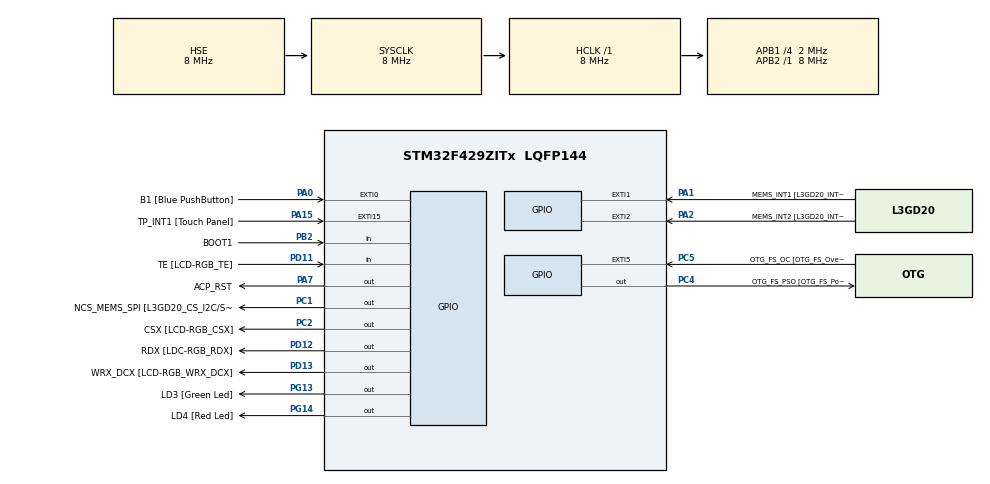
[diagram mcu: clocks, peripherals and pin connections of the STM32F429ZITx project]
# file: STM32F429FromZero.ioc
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Mcu.Family=STM32F4
Mcu.Name=STM32F429ZITx
Mcu.Package=LQFP144
NVIC.PriorityGroup=NVIC_PRIORITYGROUP_0
PA0/WKUP.GPIO_Label=B1 [Blue PushButton]
PA0/WKUP.GPIO_ModeDefaultEXTI=GPIO_MODE_EVT_RISING
PA0/WKUP.GPIO_PuPd=GPIO_NOPULL
PA0/WKUP.Signal=GPXTI0
PA1.GPIO_Label=MEMS_INT1 [L3GD20_INT1]
PA1.GPIO_ModeDefaultEXTI=GPIO_MODE_EVT_RISING
PA1.GPIO_PuPd=GPIO_NOPULL
PA1.Signal=GPXTI1
PA10.GPIO_Label=STLINK_TX [STM32F103CBT6_PA2]
PA10.Signal=USART1_RX
PA11.GPIO_Label=R4
PA11.GPIO_Mode=GPIO_MODE_AF_PP
PA11.GPIO_PuPd=GPIO_NOPULL
PA11.GPIO_Speed=GPIO_SPEED_FREQ_LOW
PA11.Signal=LTDC_R4
PA12.GPIO_Label=R5
PA12.GPIO_Mode=GPIO_MODE_AF_PP
PA12.GPIO_PuPd=GPIO_NOPULL
PA12.GPIO_Speed=GPIO_SPEED_FREQ_LOW
PA12.Signal=LTDC_R5
PA13.GPIO_Label=SWDIO
PA13.Signal=SYS_JTMS-SWDIO
PA14.GPIO_Label=SWCLK
PA14.Signal=SYS_JTCK-SWCLK
PA15.GPIO_Label=TP_INT1 [Touch Panel]
PA15.GPIO_ModeDefaultEXTI=GPIO_MODE_EVT_RISING
PA15.GPIO_PuPd=GPIO_NOPULL
PA15.Signal=GPXTI15
PA2.GPIO_Label=MEMS_INT2 [L3GD20_INT2]
PA2.GPIO_ModeDefaultEXTI=GPIO_MODE_EVT_RISING
PA2.GPIO_PuPd=GPIO_NOPULL
PA2.Signal=GPXTI2
PA3.GPIO_Label=B5
PA3.GPIO_Mode=GPIO_MODE_AF_PP
PA3.GPIO_PuPd=GPIO_NOPULL
PA3.GPIO_Speed=GPIO_SPEED_FREQ_LOW
PA3.Signal=LTDC_B5
PA4.GPIO_Label=VSYNC
PA4.GPIO_Mode=GPIO_MODE_AF_PP
PA4.GPIO_PuPd=GPIO_NOPULL
PA4.GPIO_Speed=GPIO_SPEED_FREQ_LOW
PA4.Signal=LTDC_VSYNC
PA6.GPIO_Label=G2
PA6.GPIO_Mode=GPIO_MODE_AF_PP
PA6.GPIO_PuPd=GPIO_NOPULL
PA6.GPIO_Speed=GPIO_SPEED_FREQ_LOW
PA6.Signal=LTDC_G2
PA7.GPIO_Label=ACP_RST
PA7.GPIO_Mode=GPIO_MODE_OUTPUT_PP
PA7.GPIO_PuPd=GPIO_NOPULL
PA7.GPIO_Speed=GPIO_SPEED_FREQ_LOW
PA7.Signal=GPIO_Output
PA8.GPIO_Label=I2C3_SCL [ACP/RF_SCL]
PA8.GPIO_Mode=GPIO_MODE_AF_OD
PA8.GPIO_PuPd=GPIO_NOPULL
PA8.GPIO_Speed=GPIO_SPEED_FREQ_LOW
PA8.Signal=I2C3_SCL
PA9.GPIO_Label=STLINK_RX [STM32F103CBT6_PA3]
PA9.Signal=USART1_TX
PB0.GPIO_Label=R3
PB0.GPIO_Mode=GPIO_MODE_AF_PP
PB0.GPIO_PuPd=GPIO_NOPULL
PB0.GPIO_Speed=GPIO_SPEED_FREQ_LOW
PB0.Signal=LTDC_R3
PB1.GPIO_Label=R6
PB1.GPIO_Mode=GPIO_MODE_AF_PP
PB1.GPIO_PuPd=GPIO_NOPULL
PB1.GPIO_Speed=GPIO_SPEED_FREQ_LOW
PB1.Signal=LTDC_R6
PB10.GPIO_Label=G4
PB10.GPIO_Mode=GPIO_MODE_AF_PP
PB10.GPIO_PuPd=GPIO_NOPULL
PB10.GPIO_Speed=GPIO_SPEED_FREQ_LOW
PB10.Signal=LTDC_G4
PB11.GPIO_Label=G5
PB11.GPIO_Mode=GPIO_MODE_AF_PP
PB11.GPIO_PuPd=GPIO_NOPULL
PB11.GPIO_Speed=GPIO_SPEED_FREQ_LOW
PB11.Signal=LTDC_G5
PB12.GPIO_Label=OTG_HS_ID
PB12.GPIO_Mode=GPIO_MODE_AF_PP
PB12.GPIO_PuPd=GPIO_NOPULL
PB12.GPIO_Speed=GPIO_SPEED_FREQ_LOW
PB12.Signal=USB_OTG_HS_ID
PB13.GPIO_Label=VBUS_HS
PB13.GPIO_Mode=GPIO_MODE_INPUT
PB13.GPIO_PuPd=GPIO_NOPULL
PB13.Signal=USB_OTG_HS_VBUS
PB14.GPIO_Label=OTG_HS_DM
PB14.GPIO_Mode=GPIO_MODE_AF_PP
PB14.GPIO_PuPd=GPIO_NOPULL
PB14.GPIO_Speed=GPIO_SPEED_FREQ_LOW
PB14.Signal=USB_OTG_HS_DM
PB15.GPIO_Label=OTG_HS_DP
PB15.GPIO_Mode=GPIO_MODE_AF_PP
PB15.GPIO_PuPd=GPIO_NOPULL
PB15.GPIO_Speed=GPIO_SPEED_FREQ_LOW
PB15.Signal=USB_OTG_HS_DP
PB2/BOOT1.GPIO_Label=BOOT1
PB2/BOOT1.GPIO_Mode=GPIO_MODE_INPUT
PB2/BOOT1.GPIO_PuPd=GPIO_NOPULL
PB2/BOOT1.Signal=GPIO_Input
PB5.GPIO_Label=SDCKE1
PB5.GPIO_Mode=GPIO_MODE_AF_PP
PB5.GPIO_PuPd=GPIO_NOPULL
PB5.GPIO_Speed=GPIO_SPEED_FREQ_VERY_HIGH
PB5.Signal=FMC_SDCKE1
PB6.GPIO_Label=SDNE1 [SDRAM_CS]
PB6.GPIO_Mode=GPIO_MODE_AF_PP
PB6.GPIO_PuPd=GPIO_NOPULL
PB6.GPIO_Speed=GPIO_SPEED_FREQ_VERY_HIGH
PB6.Signal=FMC_SDNE1
PB8.GPIO_Label=B6
PB8.GPIO_Mode=GPIO_MODE_AF_PP
PB8.GPIO_PuPd=GPIO_NOPULL
PB8.GPIO_Speed=GPIO_SPEED_FREQ_LOW
PB8.Signal=LTDC_B6
PB9.GPIO_Label=B7
PB9.GPIO_Mode=GPIO_MODE_AF_PP
PB9.GPIO_PuPd=GPIO_NOPULL
PB9.GPIO_Speed=GPIO_SPEED_FREQ_LOW
PB9.Signal=LTDC_B7
PC0.GPIO_Label=SDNWE
PC0.GPIO_Mode=GPIO_MODE_AF_PP
PC0.GPIO_PuPd=GPIO_NOPULL
PC0.GPIO_Speed=GPIO_SPEED_FREQ_VERY_HIGH
PC0.Signal=FMC_SDNWE
PC1.GPIO_Label=NCS_MEMS_SPI [L3GD20_CS_I2C/SPI]
PC1.GPIO_Mode=GPIO_MODE_OUTPUT_PP
PC1.GPIO_PuPd=GPIO_NOPULL
PC1.GPIO_Speed=GPIO_SPEED_FREQ_LOW
PC1.Signal=GPIO_Output
PC10.GPIO_Label=R2
PC10.GPIO_Mode=GPIO_MODE_AF_PP
PC10.GPIO_PuPd=GPIO_NOPULL
PC10.GPIO_Speed=GPIO_SPEED_FREQ_LOW
PC10.Signal=LTDC_R2
PC14/OSC32_IN.GPIO_Label=PC14-OSC32_IN
PC14/OSC32_IN.Signal=RCC_OSC32_IN
PC15/OSC32_OUT.GPIO_Label=PC15-OSC32_OUT
PC15/OSC32_OUT.Signal=RCC_OSC32_OUT
PC2.GPIO_Label=CSX [LCD-RGB_CSX]
PC2.GPIO_Mode=GPIO_MODE_OUTPUT_PP
PC2.GPIO_PuPd=GPIO_NOPULL
PC2.GPIO_Speed=GPIO_SPEED_FREQ_LOW
PC2.Signal=GPIO_Output
PC4.GPIO_Label=OTG_FS_PSO [OTG_FS_PowerSwitchOn]
PC4.GPIO_Mode=GPIO_MODE_OUTPUT_PP
PC4.GPIO_PuPd=GPIO_NOPULL
PC4.GPIO_Speed=GPIO_SPEED_FREQ_LOW
PC4.Signal=GPIO_Output
PC5.GPIO_Label=OTG_FS_OC [OTG_FS_OverCurrent]
PC5.GPIO_ModeDefaultEXTI=GPIO_MODE_EVT_RISING
PC5.Signal=GPXTI5
PC6.GPIO_Label=HSYNC
PC6.GPIO_Mode=GPIO_MODE_AF_PP
PC6.GPIO_PuPd=GPIO_NOPULL
PC6.GPIO_Speed=GPIO_SPEED_FREQ_LOW
PC6.Signal=LTDC_HSYNC
PC7.GPIO_Label=G6
PC7.GPIO_Mode=GPIO_MODE_AF_PP
PC7.GPIO_PuPd=GPIO_NOPULL
PC7.GPIO_Speed=GPIO_SPEED_FREQ_LOW
PC7.Signal=LTDC_G6
PC9.GPIO_Label=I2C3_SDA [ACP/RF_SDA]
PC9.GPIO_Mode=GPIO_MODE_AF_OD
PC9.GPIO_PuPd=GPIO_NOPULL
PC9.GPIO_Speed=GPIO_SPEED_FREQ_LOW
PC9.Signal=I2C3_SDA
PD0.GPIO_Label=D2
PD0.GPIO_Mode=GPIO_MODE_AF_PP
PD0.GPIO_PuPd=GPIO_NOPULL
PD0.GPIO_Speed=GPIO_SPEED_FREQ_VERY_HIGH
PD0.Signal=FMC_D2_DA2
PD1.GPIO_Label=D3
PD1.GPIO_Mode=GPIO_MODE_AF_PP
PD1.GPIO_PuPd=GPIO_NOPULL
PD1.GPIO_Speed=GPIO_SPEED_FREQ_VERY_HIGH
PD1.Signal=FMC_D3_DA3
PD10.GPIO_Label=D15
PD10.GPIO_Mode=GPIO_MODE_AF_PP
PD10.GPIO_PuPd=GPIO_NOPULL
PD10.GPIO_Speed=GPIO_SPEED_FREQ_VERY_HIGH
PD10.Signal=FMC_D15_DA15
PD11.GPIO_Label=TE [LCD-RGB_TE]
PD11.GPIO_Mode=GPIO_MODE_INPUT
PD11.GPIO_PuPd=GPIO_NOPULL
PD11.Signal=GPIO_Input
PD12.GPIO_Label=RDX [LDC-RGB_RDX]
PD12.GPIO_Mode=GPIO_MODE_OUTPUT_PP
PD12.GPIO_PuPd=GPIO_NOPULL
PD12.GPIO_Speed=GPIO_SPEED_FREQ_LOW
PD12.Signal=GPIO_Output
PD13.GPIO_Label=WRX_DCX [LCD-RGB_WRX_DCX]
PD13.GPIO_Mode=GPIO_MODE_OUTPUT_PP
PD13.GPIO_PuPd=GPIO_NOPULL
PD13.GPIO_Speed=GPIO_SPEED_FREQ_LOW
PD13.Signal=GPIO_Output
PD14.GPIO_Label=D0
PD14.GPIO_Mode=GPIO_MODE_AF_PP
PD14.GPIO_PuPd=GPIO_NOPULL
PD14.GPIO_Speed=GPIO_SPEED_FREQ_VERY_HIGH
PD14.Signal=FMC_D0_DA0
PD15.GPIO_Label=D1
PD15.GPIO_Mode=GPIO_MODE_AF_PP
PD15.GPIO_PuPd=GPIO_NOPULL
PD15.GPIO_Speed=GPIO_SPEED_FREQ_VERY_HIGH
PD15.Signal=FMC_D1_DA1
PD3.GPIO_Label=G7
PD3.GPIO_Mode=GPIO_MODE_AF_PP
PD3.GPIO_PuPd=GPIO_NOPULL
PD3.GPIO_Speed=GPIO_SPEED_FREQ_LOW
PD3.Signal=LTDC_G7
PD6.GPIO_Label=B2
PD6.GPIO_Mode=GPIO_MODE_AF_PP
PD6.GPIO_PuPd=GPIO_NOPULL
PD6.GPIO_Speed=GPIO_SPEED_FREQ_LOW
PD6.Signal=LTDC_B2
PD8.GPIO_Label=D13
PD8.GPIO_Mode=GPIO_MODE_AF_PP
PD8.GPIO_PuPd=GPIO_NOPULL
PD8.GPIO_Speed=GPIO_SPEED_FREQ_VERY_HIGH
PD8.Signal=FMC_D13_DA13
PD9.GPIO_Label=D14
PD9.GPIO_Mode=GPIO_MODE_AF_PP
PD9.GPIO_PuPd=GPIO_NOPULL
PD9.GPIO_Speed=GPIO_SPEED_FREQ_VERY_HIGH
PD9.Signal=FMC_D14_DA14
PE0.GPIO_Label=NBL0 [SDRAM_LDQM]
PE0.GPIO_Mode=GPIO_MODE_AF_PP
PE0.GPIO_PuPd=GPIO_NOPULL
PE0.GPIO_Speed=GPIO_SPEED_FREQ_VERY_HIGH
PE0.Signal=FMC_NBL0
PE1.GPIO_Label=NBL1 [SDRAM_UDQM]
PE1.GPIO_Mode=GPIO_MODE_AF_PP
PE1.GPIO_PuPd=GPIO_NOPULL
PE1.GPIO_Speed=GPIO_SPEED_FREQ_VERY_HIGH
PE1.Signal=FMC_NBL1
PE10.GPIO_Label=D7
PE10.GPIO_Mode=GPIO_MODE_AF_PP
PE10.GPIO_PuPd=GPIO_NOPULL
PE10.GPIO_Speed=GPIO_SPEED_FREQ_VERY_HIGH
PE10.Signal=FMC_D7_DA7
PE11.GPIO_Label=D8
PE11.GPIO_Mode=GPIO_MODE_AF_PP
PE11.GPIO_PuPd=GPIO_NOPULL
PE11.GPIO_Speed=GPIO_SPEED_FREQ_VERY_HIGH
PE11.Signal=FMC_D8_DA8
PE12.GPIO_Label=D9
PE12.GPIO_Mode=GPIO_MODE_AF_PP
PE12.GPIO_PuPd=GPIO_NOPULL
PE12.GPIO_Speed=GPIO_SPEED_FREQ_VERY_HIGH
PE12.Signal=FMC_D9_DA9
PE13.GPIO_Label=D10
PE13.GPIO_Mode=GPIO_MODE_AF_PP
PE13.GPIO_PuPd=GPIO_NOPULL
PE13.GPIO_Speed=GPIO_SPEED_FREQ_VERY_HIGH
PE13.Signal=FMC_D10_DA10
PE14.GPIO_Label=D11
PE14.GPIO_Mode=GPIO_MODE_AF_PP
PE14.GPIO_PuPd=GPIO_NOPULL
PE14.GPIO_Speed=GPIO_SPEED_FREQ_VERY_HIGH
PE14.Signal=FMC_D11_DA11
PE15.GPIO_Label=D12
PE15.GPIO_Mode=GPIO_MODE_AF_PP
PE15.GPIO_PuPd=GPIO_NOPULL
PE15.GPIO_Speed=GPIO_SPEED_FREQ_VERY_HIGH
PE15.Signal=FMC_D12_DA12
PE7.GPIO_Label=D4
PE7.GPIO_Mode=GPIO_MODE_AF_PP
PE7.GPIO_PuPd=GPIO_NOPULL
PE7.GPIO_Speed=GPIO_SPEED_FREQ_VERY_HIGH
PE7.Signal=FMC_D4_DA4
PE8.GPIO_Label=D5
PE8.GPIO_Mode=GPIO_MODE_AF_PP
PE8.GPIO_PuPd=GPIO_NOPULL
PE8.GPIO_Speed=GPIO_SPEED_FREQ_VERY_HIGH
PE8.Signal=FMC_D5_DA5
PE9.GPIO_Label=D6
PE9.GPIO_Mode=GPIO_MODE_AF_PP
PE9.GPIO_PuPd=GPIO_NOPULL
PE9.GPIO_Speed=GPIO_SPEED_FREQ_VERY_HIGH
PE9.Signal=FMC_D6_DA6
PF0.GPIO_Label=A0
PF0.GPIO_Mode=GPIO_MODE_AF_PP
PF0.GPIO_PuPd=GPIO_NOPULL
PF0.GPIO_Speed=GPIO_SPEED_FREQ_VERY_HIGH
PF0.Signal=FMC_A0
PF1.GPIO_Label=A1
PF1.GPIO_Mode=GPIO_MODE_AF_PP
PF1.GPIO_PuPd=GPIO_NOPULL
PF1.GPIO_Speed=GPIO_SPEED_FREQ_VERY_HIGH
PF1.Signal=FMC_A1
PF10.GPIO_Label=ENABLE [LCD-RGB_ENABLE]
PF10.GPIO_Mode=GPIO_MODE_AF_PP
PF10.GPIO_PuPd=GPIO_NOPULL
PF10.GPIO_Speed=GPIO_SPEED_FREQ_LOW
PF10.Signal=LTDC_DE
PF11.GPIO_Label=SDNRAS
PF11.GPIO_Mode=GPIO_MODE_AF_PP
PF11.GPIO_PuPd=GPIO_NOPULL
PF11.GPIO_Speed=GPIO_SPEED_FREQ_VERY_HIGH
PF11.Signal=FMC_SDNRAS
PF12.GPIO_Label=A6
PF12.GPIO_Mode=GPIO_MODE_AF_PP
PF12.GPIO_PuPd=GPIO_NOPULL
PF12.GPIO_Speed=GPIO_SPEED_FREQ_VERY_HIGH
PF12.Signal=FMC_A6
PF13.GPIO_Label=A7
PF13.GPIO_Mode=GPIO_MODE_AF_PP
PF13.GPIO_PuPd=GPIO_NOPULL
PF13.GPIO_Speed=GPIO_SPEED_FREQ_VERY_HIGH
PF13.Signal=FMC_A7
PF14.GPIO_Label=A8
PF14.GPIO_Mode=GPIO_MODE_AF_PP
PF14.GPIO_PuPd=GPIO_NOPULL
PF14.GPIO_Speed=GPIO_SPEED_FREQ_VERY_HIGH
PF14.Signal=FMC_A8
PF15.GPIO_Label=A9
PF15.GPIO_Mode=GPIO_MODE_AF_PP
PF15.GPIO_PuPd=GPIO_NOPULL
PF15.GPIO_Speed=GPIO_SPEED_FREQ_VERY_HIGH
PF15.Signal=FMC_A9
PF2.GPIO_Label=A2
PF2.GPIO_Mode=GPIO_MODE_AF_PP
PF2.GPIO_PuPd=GPIO_NOPULL
PF2.GPIO_Speed=GPIO_SPEED_FREQ_VERY_HIGH
PF2.Signal=FMC_A2
PF3.GPIO_Label=A3
PF3.GPIO_Mode=GPIO_MODE_AF_PP
PF3.GPIO_PuPd=GPIO_NOPULL
PF3.GPIO_Speed=GPIO_SPEED_FREQ_VERY_HIGH
PF3.Signal=FMC_A3
PF4.GPIO_Label=A4
PF4.GPIO_Mode=GPIO_MODE_AF_PP
PF4.GPIO_PuPd=GPIO_NOPULL
PF4.GPIO_Speed=GPIO_SPEED_FREQ_VERY_HIGH
PF4.Signal=FMC_A4
PF5.GPIO_Label=A5
PF5.GPIO_Mode=GPIO_MODE_AF_PP
PF5.GPIO_PuPd=GPIO_NOPULL
PF5.GPIO_Speed=GPIO_SPEED_FREQ_VERY_HIGH
PF5.Signal=FMC_A5
PF7.GPIO_Label=SPI5_SCK [L3GD20_SCL/SPC]
PF7.GPIO_Mode=GPIO_MODE_AF_PP
PF7.GPIO_PuPd=GPIO_NOPULL
PF7.GPIO_Speed=GPIO_SPEED_FREQ_LOW
PF7.Signal=SPI5_SCK
PF8.GPIO_Label=SPI5_MISO [L3GD20_SDO]
PF8.GPIO_Mode=GPIO_MODE_AF_PP
PF8.GPIO_PuPd=GPIO_NOPULL
PF8.GPIO_Speed=GPIO_SPEED_FREQ_LOW
PF8.Signal=SPI5_MISO
PF9.GPIO_Label=SPI5_MOSI [L3GD20_SDA/SDI/SDO]
PF9.GPIO_Mode=GPIO_MODE_AF_PP
PF9.GPIO_PuPd=GPIO_NOPULL
PF9.GPIO_Speed=GPIO_SPEED_FREQ_LOW
PF9.Signal=SPI5_MOSI
PG0.GPIO_Label=A10
PG0.GPIO_Mode=GPIO_MODE_AF_PP
PG0.GPIO_PuPd=GPIO_NOPULL
PG0.GPIO_Speed=GPIO_SPEED_FREQ_VERY_HIGH
PG0.Signal=FMC_A10
PG1.GPIO_Label=A11
PG1.GPIO_Mode=GPIO_MODE_AF_PP
PG1.GPIO_PuPd=GPIO_NOPULL
PG1.GPIO_Speed=GPIO_SPEED_FREQ_VERY_HIGH
PG1.Signal=FMC_A11
PG10.GPIO_Label=G3
PG10.GPIO_Mode=GPIO_MODE_AF_PP
PG10.GPIO_PuPd=GPIO_NOPULL
PG10.GPIO_Speed=GPIO_SPEED_FREQ_LOW
PG10.Signal=LTDC_G3
PG11.GPIO_Label=B3
PG11.GPIO_Mode=GPIO_MODE_AF_PP
PG11.GPIO_PuPd=GPIO_NOPULL
PG11.GPIO_Speed=GPIO_SPEED_FREQ_LOW
PG11.Signal=LTDC_B3
PG12.GPIO_Label=B4
PG12.GPIO_Mode=GPIO_MODE_AF_PP
PG12.GPIO_PuPd=GPIO_NOPULL
PG12.GPIO_Speed=GPIO_SPEED_FREQ_LOW
PG12.Signal=LTDC_B4
PG13.GPIO_Label=LD3 [Green Led]
PG13.GPIO_Mode=GPIO_MODE_OUTPUT_PP
PG13.GPIO_PuPd=GPIO_NOPULL
PG13.GPIO_Speed=GPIO_SPEED_FREQ_LOW
PG13.Signal=GPIO_Output
PG14.GPIO_Label=LD4 [Red Led]
PG14.GPIO_Mode=GPIO_MODE_OUTPUT_PP
PG14.GPIO_PuPd=GPIO_NOPULL
PG14.GPIO_Speed=GPIO_SPEED_FREQ_LOW
PG14.Signal=GPIO_Output
PG15.GPIO_Label=SDNCAS
PG15.GPIO_Mode=GPIO_MODE_AF_PP
PG15.GPIO_PuPd=GPIO_NOPULL
PG15.GPIO_Speed=GPIO_SPEED_FREQ_VERY_HIGH
PG15.Signal=FMC_SDNCAS
PG4.GPIO_Label=BA0
PG4.GPIO_Mode=GPIO_MODE_AF_PP
PG4.GPIO_PuPd=GPIO_NOPULL
PG4.GPIO_Speed=GPIO_SPEED_FREQ_VERY_HIGH
PG4.Signal=FMC_A14_BA0
PG5.GPIO_Label=BA1
PG5.GPIO_Mode=GPIO_MODE_AF_PP
PG5.GPIO_PuPd=GPIO_NOPULL
PG5.GPIO_Speed=GPIO_SPEED_FREQ_VERY_HIGH
PG5.Signal=FMC_A15_BA1
PG6.GPIO_Label=R7
PG6.GPIO_Mode=GPIO_MODE_AF_PP
PG6.GPIO_PuPd=GPIO_NOPULL
PG6.GPIO_Speed=GPIO_SPEED_FREQ_LOW
PG6.Signal=LTDC_R7
PG7.GPIO_Label=DOTCLK [LCT-RGB_DOTCLK]
PG7.GPIO_Mode=GPIO_MODE_AF_PP
PG7.GPIO_PuPd=GPIO_NOPULL
PG7.GPIO_Speed=GPIO_SPEED_FREQ_LOW
PG7.Signal=LTDC_CLK
PG8.GPIO_Label=SDCLK
PG8.GPIO_Mode=GPIO_MODE_AF_PP
PG8.GPIO_PuPd=GPIO_NOPULL
PG8.GPIO_Speed=GPIO_SPEED_FREQ_VERY_HIGH
PG8.Signal=FMC_SDCLK
PH0/OSC_IN.GPIO_Label=PH0-OSC_IN
PH0/OSC_IN.Mode=HSE-External-Oscillator
PH0/OSC_IN.Signal=RCC_OSC_IN
PH1/OSC_OUT.GPIO_Label=PH1-OSC_OUT
PH1/OSC_OUT.Mode=HSE-External-Oscillator
PH1/OSC_OUT.Signal=RCC_OSC_OUT
ProjectManager.HeapSize=0x200
ProjectManager.StackSize=0x400
ProjectManager.TargetToolchain=MDK-ARM V5
RCC.48MHZClocksFreq_Value=14285714.285714285
RCC.AHBFreq_Value=8000000
RCC.APB1CLKDivider=RCC_HCLK_DIV4
RCC.APB1Freq_Value=2000000
RCC.APB1TimFreq_Value=4000000
RCC.APB2Freq_Value=8000000
RCC.APB2TimFreq_Value=8000000
RCC.CortexFreq_Value=8000000
RCC.HCLKFreq_Value=8000000
RCC.HSE_VALUE=8000000
RCC.HSI_VALUE=16000000
RCC.LSE_VALUE=32768
RCC.PLLM=8
RCC.PLLN=50
RCC.PLLP=RCC_PLLP_DIV4
RCC.PLLQ=7
RCC.SYSCLKFreq_VALUE=8000000
RCC.SYSCLKSource=RCC_SYSCLKSOURCE_HSE
RCC.VCOOutputFreq_Value=100000000
SH.FMC_A0.0=FMC_A0
SH.FMC_A1.0=FMC_A1
SH.FMC_A10.0=FMC_A10
SH.FMC_A11.0=FMC_A11
SH.FMC_A14_BA0.0=FMC_BA0
SH.FMC_A15_BA1.0=FMC_BA1
SH.FMC_A2.0=FMC_A2
SH.FMC_A3.0=FMC_A3
SH.FMC_A4.0=FMC_A4
SH.FMC_A5.0=FMC_A5
SH.FMC_A6.0=FMC_A6
SH.FMC_A7.0=FMC_A7
SH.FMC_A8.0=FMC_A8
SH.FMC_A9.0=FMC_A9
SH.FMC_D0_DA0.0=FMC_D0
SH.FMC_D10_DA10.0=FMC_D10
SH.FMC_D11_DA11.0=FMC_D11
SH.FMC_D12_DA12.0=FMC_D12
SH.FMC_D13_DA13.0=FMC_D13
SH.FMC_D14_DA14.0=FMC_D14
SH.FMC_D15_DA15.0=FMC_D15
SH.FMC_D1_DA1.0=FMC_D1
SH.FMC_D2_DA2.0=FMC_D2
SH.FMC_D3_DA3.0=FMC_D3
SH.FMC_D4_DA4.0=FMC_D4
SH.FMC_D5_DA5.0=FMC_D5
SH.FMC_D6_DA6.0=FMC_D6
SH.FMC_D7_DA7.0=FMC_D7
SH.FMC_D8_DA8.0=FMC_D8
SH.FMC_D9_DA9.0=FMC_D9
SH.FMC_NBL0.0=FMC_NBL0
SH.FMC_NBL1.0=FMC_NBL1
SH.FMC_SDCLK.0=FMC_SDCLK
SH.FMC_SDNCAS.0=FMC_SDNCAS
SH.FMC_SDNRAS.0=FMC_SDNRAS
SH.FMC_SDNWE.0=FMC_SDNWE
board=STM32F429I-DISC1

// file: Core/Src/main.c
/* USER CODE BEGIN Header */
/**
  ******************************************************************************
  * @file           : main.c
  * @brief          : Main program body
  ******************************************************************************
  * @attention
  *
  * Copyright (c) 2023 STMicroelectronics.
  * All rights reserved.
  *
  * This software is licensed under terms that can be found in the LICENSE file
  * in the root directory of this software component.
  * If no LICENSE file comes with this software, it is provided AS-IS.
  *
  ******************************************************************************
  */
/* USER CODE END Header */
#include "main.h"

/* USER CODE BEGIN Includes */
#include <stdio.h>
#include <string.h>
#include <stdlib.h>
#include "RtcDriver.h"
#include "sht35.h"
#include "fatfs.h"
/* USER CODE END Includes */

/* USER CODE BEGIN PD */
#define DATA_BUFFER_SIZE	50

/* USER CODE END PD */

/* USER CODE BEGIN PV */
UART_HandleTypeDef xHUart1;
I2C_HandleTypeDef xHI2c3;
SPI_HandleTypeDef hspi4;
const TCHAR pcFILE_NAME[] = "StmLog.txt"; // or use define like this #define pcFILE_NAME "StmLog.txt"
bool bRtcAlarmFlag = false;
/* USER CODE END PV */

void SystemClock_Config(void);
static void MX_GPIO_Init(void);
/* USER CODE BEGIN PFP */
FRESULT iListDirAndFile(char *pcPath, int iNbrTabs);
void EXTI15_10_IRQHandler(void);
void HAL_GPIO_EXTI_Callback(uint16_t GPIO_Pin);
/* USER CODE END PFP */

int main(void)
{
  /* USER CODE BEGIN 1 */
	uint8_t error;
	uint8_t u8Counter;
	char cUserYesNoAnswer;
	float fTemperature;
	t_xRtcDateTime xDateTime;
	int iSecondsFromUser;
	int iMinutesFromUser;
	int iHoursFromUser;
	int iDateFromUser;
	int iMonthFromUser;
	int iYearFromUser;
	FATFS xFatFs; // memory handler
	FIL xFil;	// file handler
	FRESULT xFRes;	// ff functions result
	char pcDataBuffer[DATA_BUFFER_SIZE]; // DATA_BUFFER_SIZE bytes is enough for datetime and tempearture, line example "hh:mm:ss DD/MM/YYYY ; +xxx.xxx\r\n" and headers
	UINT bytesWrote; // nbr of bytes we manage to write in file
	FSIZE_t xFileReadStartPos = 0; // save file position where to start reading from
	uint8_t isButtonClicked = 0; // raising edge of click button

  /* USER CODE END 1 */

  /* MCU Configuration--------------------------------------------------------*/

  /* Reset of all peripherals, Initializes the Flash interface and the Systick. */
  HAL_Init();

  /* Configure the system clock */
  SystemClock_Config();

  /* Initialize all configured peripherals */
  //MX_GPIO_Init();
  /* USER CODE BEGIN 2 */
	// config LED3 and LED4 (green/red led)
	__HAL_RCC_GPIOG_CLK_ENABLE();

	GPIO_InitTypeDef xGpioInitStruct;
	xGpioInitStruct.Pin = GPIO_PIN_13|GPIO_PIN_14;
	xGpioInitStruct.Mode = GPIO_MODE_OUTPUT_PP;
	xGpioInitStruct.Pull = GPIO_NOPULL;
	xGpioInitStruct.Speed = GPIO_SPEED_LOW;
	HAL_GPIO_Init(GPIOG ,&xGpioInitStruct);

	HAL_GPIO_WritePin(GPIOG, GPIO_PIN_13, GPIO_PIN_RESET); // turn Green led off
	HAL_GPIO_WritePin(GPIOG, GPIO_PIN_14, GPIO_PIN_RESET); // turn red led off

	// config user button (blue button)
	__HAL_RCC_GPIOA_CLK_ENABLE();

	xGpioInitStruct.Pin = GPIO_PIN_0;
	xGpioInitStruct.Mode = GPIO_MODE_INPUT;
	xGpioInitStruct.Pull = GPIO_NOPULL;
	xGpioInitStruct.Speed = GPIO_SPEED_LOW;
	HAL_GPIO_Init(GPIOA, &xGpioInitStruct);

	// config UART1 (Configure USART 1 interface as UART) PA9:TX | PA10:RX
	__HAL_RCC_USART1_CLK_ENABLE();
	//__HAL_RCC_GPIOA_CLK_ENABLE(); // enabling the pirepheral clock of GPIOA already done

	xGpioInitStruct.Pin = GPIO_PIN_9|GPIO_PIN_10;
	xGpioInitStruct.Mode = GPIO_MODE_AF_PP;
	xGpioInitStruct.Pull = GPIO_NOPULL;
	xGpioInitStruct.Alternate = GPIO_AF7_USART1;
	xGpioInitStruct.Speed = GPIO_SPEED_LOW;
	HAL_GPIO_Init(GPIOA, &xGpioInitStruct);

	xHUart1.Instance = USART1;
	xHUart1.Init.BaudRate = 115200;
	xHUart1.Init.WordLength = UART_WORDLENGTH_8B;
	xHUart1.Init.StopBits = UART_STOPBITS_1;
	xHUart1.Init.Parity = UART_PARITY_NONE;
	xHUart1.Init.HwFlowCtl = UART_HWCONTROL_NONE;
	xHUart1.Init.Mode = UART_MODE_TX_RX;
	xHUart1.Init.OverSampling = UART_OVERSAMPLING_16;
	HAL_UART_Init(&xHUart1);

	// config I2C3 (PA8:SCL | PC9:SDA)
	//note: to make sure I2C works (make sure the PCLK1 which is the peripheral frequency of the APB1 is at least 2Mhz because the min Peripheral clock frequency for the I2C in the I2C_CR2 control register is 2Mhz, see "the min frequency for the I2C peripheral clock frequency is 2Mhz (https://controllerstech.com/stm32-i2c-configuration-using-registers/)")
	//__HAL_RCC_GPIOA_CLK_ENABLE(); // enabling the pirepheral clock of GPIOA already done
	__HAL_RCC_GPIOC_CLK_ENABLE();

	xGpioInitStruct.Pin = GPIO_PIN_8;
	xGpioInitStruct.Mode = GPIO_MODE_AF_OD;// need to be open drain because I2C require only pullup resistor and not connected to GND
	xGpioInitStruct.Pull = GPIO_NOPULL; // DS3231 already come with pullup resistor
	xGpioInitStruct.Alternate = GPIO_AF4_I2C3;
	xGpioInitStruct.Speed = GPIO_SPEED_LOW;
	HAL_GPIO_Init(GPIOA, &xGpioInitStruct);

	xGpioInitStruct.Pin = GPIO_PIN_9;
	xGpioInitStruct.Mode = GPIO_MODE_AF_OD; // need to be open drain because I2C require only pullup resistor and not connected to GND
	xGpioInitStruct.Pull = GPIO_NOPULL; // DS3231 already come with pullup resistor
	xGpioInitStruct.Alternate = GPIO_AF4_I2C3;
	xGpioInitStruct.Speed = GPIO_SPEED_LOW;
	HAL_GPIO_Init(GPIOC, &xGpioInitStruct);

	__HAL_RCC_I2C3_CLK_ENABLE();
	xHI2c3.Instance = I2C3;
	xHI2c3.Init.AddressingMode = I2C_ADDRESSINGMODE_7BIT;
	xHI2c3.Init.ClockSpeed = 100000; //100khz
	xHI2c3.Init.DutyCycle = I2C_DUTYCYCLE_2; // since the speed mode is the standard mode we set the duty cycle to the default value
	// disable and set default values to 0 for the slave config parameters since we use I2C master mode
	xHI2c3.Init.OwnAddress1 = 0;
	xHI2c3.Init.OwnAddress2 = 0;
	xHI2c3.Init.DualAddressMode = I2C_DUALADDRESS_DISABLE;
	xHI2c3.Init.GeneralCallMode = I2C_GENERALCALL_DISABLE;
	xHI2c3.Init.NoStretchMode = I2C_NOSTRETCH_DISABLE;

	error	= HAL_I2C_Init(&xHI2c3);
	if(error==HAL_OK)
	{
		printf("i2c init succ %u\r\n", error);
	}
	else
	{
		printf("i2c init problem %u\r\n", error);
	}

	//RTC driver config and init
	vRtcDriverConfig(&xHI2c3, DS3231_I2C_ADDRESS);
	iRtcDisableAlarm1();
	iRtcDisableAlarm2();
	iRtcClearAlarm1InteeruptionFlag();
	iRtcClearAlarm2InteeruptionFlag();
	iRtcSetInerruptionMode(RtcInterruptionMode_Alarm);

	// config  RTC interruption  (GPIOC 12)
	//__HAL_RCC_GPIOC_CLK_ENABLE();  // already enabled
	xGpioInitStruct.Pin = GPIO_PIN_12;
	xGpioInitStruct.Mode = GPIO_MODE_IT_FALLING;
	xGpioInitStruct.Pull = GPIO_NOPULL; // DS3231 already come with pullup resistor
	xGpioInitStruct.Speed = GPIO_SPEED_LOW;
	HAL_GPIO_Init(GPIOC, &xGpioInitStruct);
	HAL_NVIC_SetPriority(EXTI15_10_IRQn, 0, 0);
	HAL_NVIC_EnableIRQ(EXTI15_10_IRQn);

	// SHT35 temperature driver config and init
	vSht35Config(&xHI2c3);
	bSht35Init();

	// configure SD card
	// SPI GPIO configuration (SPI4) SPI_CLK: PE2 | SPI_MISO: PE5 | SPI_MOSI: PE6
	__HAL_RCC_GPIOE_CLK_ENABLE();
	xGpioInitStruct.Pin = GPIO_PIN_2|GPIO_PIN_5|GPIO_PIN_6;
  xGpioInitStruct.Mode = GPIO_MODE_AF_PP;
  xGpioInitStruct.Pull = GPIO_NOPULL;
  xGpioInitStruct.Speed = GPIO_SPEED_FREQ_VERY_HIGH;
  xGpioInitStruct.Alternate = GPIO_AF5_SPI4;
  HAL_GPIO_Init(GPIOE, &xGpioInitStruct);

	// Config SPi interface
	__HAL_RCC_SPI4_CLK_ENABLE();
	hspi4.Instance = SPI4;
  hspi4.Init.Mode = SPI_MODE_MASTER;
  hspi4.Init.Direction = SPI_DIRECTION_2LINES;
  hspi4.Init.DataSize = SPI_DATASIZE_8BIT;
  hspi4.Init.CLKPolarity = SPI_POLARITY_LOW; //search
  hspi4.Init.CLKPhase = SPI_PHASE_1EDGE; //search
  hspi4.Init.NSS = SPI_NSS_SOFT;
  hspi4.Init.BaudRatePrescaler = SPI_BAUDRATEPRESCALER_32; //search
  hspi4.Init.FirstBit = SPI_FIRSTBIT_MSB; //search
  hspi4.Init.TIMode = SPI_TIMODE_DISABLE; //search
  hspi4.Init.CRCCalculation = SPI_CRCCALCULATION_DISABLE; //search
  hspi4.Init.CRCPolynomial = 10; //search
  error = HAL_SPI_Init(&hspi4);
  if(error==HAL_OK)
	{
		printf("SPI init succ %u\r\n", error);
	}
	else
	{
		printf("SPI init problem %u\r\n", error);
	}

	// SD card CS is PE4
	//__HAL_RCC_GPIOE_CLK_ENABLE();  // already enabled
	xGpioInitStruct.Pin = GPIO_PIN_4;
  xGpioInitStruct.Mode = GPIO_MODE_OUTPUT_PP;
  xGpioInitStruct.Pull = GPIO_NOPULL;
  xGpioInitStruct.Speed = GPIO_SPEED_FREQ_VERY_HIGH;
  HAL_GPIO_Init(GPIOE, &xGpioInitStruct);
	HAL_GPIO_WritePin(GPIOE, GPIO_PIN_4, GPIO_PIN_SET);

	// TIME set
	printf("------ RTC init section ------\r\n");
	//get current datetime from RTC
	iRtcGetCurrentDateTime(&xDateTime);
	printf("current time: %u:%u:%u %u/%u/%u\r\n", xDateTime.u8Hours, xDateTime.u8Minutes, xDateTime.u8Seconds, xDateTime.u8Date, xDateTime.u8Month, xDateTime.u16Year);

	// ask user if he wants to change time
	do
	{
		printf("Do you want to change time? (y/n)\r\n");
		//scanf("%c", &cUserYesNoAnswer);
		HAL_UART_Receive(&xHUart1, (uint8_t *) &cUserYesNoAnswer, 1, 30000);
	}while(cUserYesNoAnswer!='y' && cUserYesNoAnswer!='n');

	if(cUserYesNoAnswer=='y')
	{
		// Year
		do
		{
			printf("Set Year (2000-2999): ");
			scanf("%d", &iYearFromUser);
			printf("\r\n");
		}while(iYearFromUser<2000 || iYearFromUser>=3000);
		xDateTime.u16Year = (uint16_t)iYearFromUser;

		// Month
		do
		{
			printf("Set Month (01-12): ");
			scanf("%d", &iMonthFromUser);
			printf("\r\n");
		}while(iMonthFromUser<1 || iMonthFromUser>12);
		xDateTime.u8Month = (uint8_t)iMonthFromUser;

		// Date
		do
		{
			printf("Set date (01-31): ");
			scanf("%d", &iDateFromUser);
			printf("\r\n");
		}while(iDateFromUser<1 || iDateFromUser>31);
		xDateTime.u8Date = (uint8_t)iDateFromUser;

		// Hours
		do
		{
			printf("Set Hours (00-23): ");
			scanf("%d", &iHoursFromUser);
			printf("\r\n");
		}while(iHoursFromUser<0 || iHoursFromUser>=24);
		xDateTime.u8Hours = (uint8_t)iHoursFromUser;

		// Minutes
		do
		{
			printf("Set Minutes (00-59): ");
			scanf("%d", &iMinutesFromUser);
			printf("\r\n");
		}while(iMinutesFromUser<0 || iMinutesFromUser>=60);
		xDateTime.u8Minutes = (uint8_t)iMinutesFromUser;

		// seconds
		do
		{
			printf("Set Seconds (00-59): ");
			scanf("%d", &iSecondsFromUser);
			printf("\r\n");
		}while(iSecondsFromUser<0 || iSecondsFromUser>=60);
		xDateTime.u8Seconds = (uint8_t)iSecondsFromUser;

		printf("New time: %u:%u:%u %u/%u/%u\r\n", xDateTime.u8Hours, xDateTime.u8Minutes, xDateTime.u8Seconds, xDateTime.u8Date, xDateTime.u8Month, xDateTime.u16Year);

		//set datetime from RTC
	//	xDateTime.u8Seconds = 50;
	//	xDateTime.u8Minutes = 59;
	//	xDateTime.u8Hours = 23;
	//	xDateTime.u8Date = 28;
	//	xDateTime.u8Month = 2;
	//	xDateTime.u16Year = 2005;
		iRtcSetDateTime(xDateTime);
	}

	//SD card config & init
	MX_FATFS_Init();
	HAL_Delay(1000); //a short delay is important to let the SD card settle
	printf("------ SD card init section ------\r\n");
	// mount SD card
	xFRes = f_mount(&xFatFs, "", 1);
	if(xFRes != FR_OK)
	{
		printf("f_mount failed, error: %d\r\n", xFRes);
		while(1);
	}
	else
	{
		printf("f_mount succ\r\n");
	}
	//Let's get some statistics from the SD card
	DWORD free_clusters, free_sectors, total_sectors;
	FATFS* getFreeFs;
	xFRes = f_getfree("", &free_clusters, &getFreeFs);
	if (xFRes != FR_OK) {
		printf("f_getfree error (%d)\r\n", xFRes);
		while(1);
	}
	//Formula comes from ChaN's documentation
	total_sectors = (getFreeFs->n_fatent - 2) * getFreeFs->csize;
	free_sectors = free_clusters * getFreeFs->csize;
	printf("SD card stats:\r\n%10lu KiB total drive space.\r\n%10lu KiB available.\r\n", total_sectors / 2, free_sectors / 2);

	// Create and Open new file in read/write mode (if file already existe, don't create new one and append data starting from the end of file)
	// FA_WRITE: open file in write access mode
	xFRes = f_open(&xFil, pcFILE_NAME, FA_CREATE_NEW | FA_READ | FA_WRITE);

	// file header

	if(xFRes == FR_OK)
	{
		//Copy in a string
		strncpy(pcDataBuffer, "---------  STM32 Data Logger  ---------\r\n", 41);
		xFRes = f_write(&xFil, pcDataBuffer, 41, &bytesWrote);
		if(xFRes == FR_OK) {
			printf("Wrote %d bytes to '%s'!\r\n", bytesWrote, pcFILE_NAME);
		} else {
			printf("f_write error (%d)\r\n", xFRes);
		}
	}
	if(xFRes == FR_EXIST)
	{
		printf("f_open %s: file already exist\r\n", pcFILE_NAME);

		xFRes = f_open(&xFil, pcFILE_NAME, FA_OPEN_APPEND | FA_READ | FA_WRITE);
		//Copy in a string
		strncpy(pcDataBuffer, "  -------  New Start -------\r\n", 30);
		xFRes = f_write(&xFil, pcDataBuffer, 30, &bytesWrote);
		if(xFRes == FR_OK) {
			printf("Wrote %d bytes to '%s'!\r\n", bytesWrote, "StmLog.txt");
		} else {
			printf("f_write error (%d)\r\n", xFRes);
		}

	}
	else if(xFRes != FR_OK)
	{
		printf("f_open %s error (%d)\r\n", pcFILE_NAME, xFRes);
		while(1);
	}
	printf("Successfuly open '%s' for read and write\n", pcFILE_NAME);

	// set RTC 1 second period alarm
	__disable_irq();
	iRtcSetAlarm(enRtcAlarmRate_A1_PerSecond, NULL);
	iRtcEnableAlarm1();
	__enable_irq();
  /* USER CODE END 2 */

  /* Infinite loop */
  /* USER CODE BEGIN WHILE */

	//HAL_UART_Transmit(&xHUart1, "Start Program\n\r", 15, 1000);
  printf("Start Program\r\n");
	while (1)
  {
    /* USER CODE END WHILE */

    /* USER CODE BEGIN 3 */
		/*
		todo:
			+ check if RTC sent alarm interruption
				- if yes, read Datetime from RTC and Temperature from SHT35 and save them in file
			+ check if User button clicked
				- if yes, start reading file process: read file and check if RTC sent another alarm interruption or not, if use interrupt the reading, safe current file position and write new data and read again, keep doing this until the end of file
		*/

		// check if it's time to read Time from RTC and temperature from SHT35
		if(bRtcAlarmFlag == true)
		{
			bRtcAlarmFlag = false;
			// get time from RTC and temperature from SHT35
			if(iRtcGetCurrentDateTime(&xDateTime)==0)
			{
				if(bSht35GetTemperature(&fTemperature, enTemperatureUnitC)==true)
				{
					//Copy in a string
					sprintf(pcDataBuffer, "%u:%u:%u %u/%u/%u ; %.3f\r\n", xDateTime.u8Hours, xDateTime.u8Minutes, xDateTime.u8Seconds, xDateTime.u8Date, xDateTime.u8Month, xDateTime.u16Year, fTemperature);
					//printf("Time %u:%u:%u %u/%u/%u => %.3f\r\n", xDateTime.u8Hours, xDateTime.u8Minutes, xDateTime.u8Seconds, xDateTime.u8Date, xDateTime.u8Month, xDateTime.u16Year, fTemperature);
					//printf("data len: %u\r\n", strlen(pcData));
				}
				else
				{
					sprintf(pcDataBuffer, "%u:%u:%u %u/%u/%u ; error temperature\r\n", xDateTime.u8Hours, xDateTime.u8Minutes, xDateTime.u8Seconds, xDateTime.u8Date, xDateTime.u8Month, xDateTime.u16Year);
					printf("bSht35GetTemperature: Error\r\n");
				}
			}
			else
			{
				sprintf(pcDataBuffer, "Error time\r\n");
				printf("iRtcGetCurrentDateTime: Error\r\n");
			}
				printf("start writing\r\n");
				//xFRes = f_write(&xFil, pcData, strlen(pcData), &bytesWrote);
				bytesWrote = f_puts(pcDataBuffer, &xFil);
				//if(xFRes == FR_OK) {
				if(bytesWrote > 0) {
					printf("Wrote %d bytes to '%s'!\r\n", bytesWrote, pcFILE_NAME);
					f_sync(&xFil);
				} else {
					//printf("f_write error (%d)\r\n", xFRes);
					printf("f_write error (%d)\r\n", bytesWrote);
				}
		}

		// start read from file if:
		// 		button clicked
		//		or still data to read, which mean EOF (end of file) wasn't reached yet, and to detect this, we use xFileReadStartPos, if it's not 0 (start of file) it mean we are in the middle of reading data
		if((HAL_GPIO_ReadPin(GPIOA, GPIO_PIN_0) && isButtonClicked==0) || (xFileReadStartPos!=0))
		{
			// read all data in file (until the end of file EOF)
			// to make it easy we will use f_gets and read by DATA_BUFFER_SIZE byte (char) untl the end of file
			if(xFileReadStartPos == 0)
			{
				printf("	Data in %s:\r\n\r\n", pcFILE_NAME);
			}
			else
			{
				printf("	continue reading Data in %s:\r\n\r\n", pcFILE_NAME);
			}

			f_lseek(&xFil, xFileReadStartPos);
			do
			{
				if(f_gets((TCHAR*)pcDataBuffer, DATA_BUFFER_SIZE, &xFil) != NULL)
				{
					printf("%s", pcDataBuffer);
				}
				else // incase f_get return NULL, it can mean error or end of file
				{
					if(f_error(&xFil) != 0) // error was occured
					{
						printf("f_gets f_error (%d)\r\n", f_error(&xFil));
					}
					if(f_eof(&xFil) != 0) // end of file was occured
					{
						printf("\r\n\r\nthis is the end of the file \r\n");
					}
					xFileReadStartPos = 0; // next time start read from the start
					break;
				}
				// if RTC alarm detected, stop reading file to write new data in file and continue reading from where we left
				if(bRtcAlarmFlag == true)
				{
					xFileReadStartPos = f_tell(&xFil);
					break;
				}
			}while(1);
			// set file position at the end of file so when we write in datalogger, we write at the end of file
			f_lseek(&xFil, f_size(&xFil));

			// toggle led
			HAL_GPIO_WritePin(GPIOG, GPIO_PIN_13, GPIO_PIN_SET);
			isButtonClicked = 1;

		}
		else if(HAL_GPIO_ReadPin(GPIOA, GPIO_PIN_0) == GPIO_PIN_RESET && isButtonClicked==1)
		{
			HAL_GPIO_WritePin(GPIOG, GPIO_PIN_13, GPIO_PIN_RESET);
			isButtonClicked = 0;
		}

		HAL_Delay(10);
  }

	//close file
	f_close(&xFil);

	//de-mount the SD card
	f_mount(NULL, "", 0);
  /* USER CODE END 3 */
}

void SystemClock_Config(void)
{
  RCC_OscInitTypeDef RCC_OscInitStruct = {0};
  RCC_ClkInitTypeDef RCC_ClkInitStruct = {0};

  /** Configure the main internal regulator output voltage
  */
  __HAL_RCC_PWR_CLK_ENABLE();
  __HAL_PWR_VOLTAGESCALING_CONFIG(PWR_REGULATOR_VOLTAGE_SCALE3);

  /** Initializes the RCC Oscillators according to the specified parameters
  * in the RCC_OscInitTypeDef structure.
  */
  RCC_OscInitStruct.OscillatorType = RCC_OSCILLATORTYPE_HSE;
  RCC_OscInitStruct.HSEState = RCC_HSE_ON;
  RCC_OscInitStruct.PLL.PLLState = RCC_PLL_NONE;
  if (HAL_RCC_OscConfig(&RCC_OscInitStruct) != HAL_OK)
  {
    Error_Handler();
  }

  /** Initializes the CPU, AHB and APB buses clocks
  */
  RCC_ClkInitStruct.ClockType = RCC_CLOCKTYPE_HCLK|RCC_CLOCKTYPE_SYSCLK
                              |RCC_CLOCKTYPE_PCLK1|RCC_CLOCKTYPE_PCLK2;
  RCC_ClkInitStruct.SYSCLKSource = RCC_SYSCLKSOURCE_HSE;
  RCC_ClkInitStruct.AHBCLKDivider = RCC_SYSCLK_DIV1;
  RCC_ClkInitStruct.APB1CLKDivider = RCC_HCLK_DIV4; // we divide by 4 to get 2Mhz in the ABP1 clock PCLK1 because the min frequency for the I2C peripheral clock frequency is 2Mhz (https://controllerstech.com/stm32-i2c-configuration-using-registers/)
  RCC_ClkInitStruct.APB2CLKDivider = RCC_HCLK_DIV1; // we divide by 1 to get 8Mhz in the ABP2 because we need SPI baudrate reachs 4Mbit in fast clk (https://01001000.xyz/2020-08-09-Tutorial-STM32CubeIDE-SD-card/)

  if (HAL_RCC_ClockConfig(&RCC_ClkInitStruct, FLASH_LATENCY_0) != HAL_OK)
  {
    Error_Handler();
  }
}

static void MX_GPIO_Init(void)
{
  GPIO_InitTypeDef GPIO_InitStruct = {0};

  /* GPIO Ports Clock Enable */
  __HAL_RCC_GPIOC_CLK_ENABLE();
  __HAL_RCC_GPIOF_CLK_ENABLE();
  __HAL_RCC_GPIOH_CLK_ENABLE();
  __HAL_RCC_GPIOA_CLK_ENABLE();
  __HAL_RCC_GPIOB_CLK_ENABLE();
  __HAL_RCC_GPIOG_CLK_ENABLE();
  __HAL_RCC_GPIOE_CLK_ENABLE();
  __HAL_RCC_GPIOD_CLK_ENABLE();

  /*Configure GPIO pin Output Level */
  HAL_GPIO_WritePin(GPIOC, NCS_MEMS_SPI_Pin|CSX_Pin|OTG_FS_PSO_Pin, GPIO_PIN_RESET);

  /*Configure GPIO pin Output Level */
  HAL_GPIO_WritePin(ACP_RST_GPIO_Port, ACP_RST_Pin, GPIO_PIN_RESET);

  /*Configure GPIO pin Output Level */
  HAL_GPIO_WritePin(GPIOD, RDX_Pin|WRX_DCX_Pin, GPIO_PIN_RESET);

  /*Configure GPIO pin Output Level */
  HAL_GPIO_WritePin(GPIOG, LD3_Pin|LD4_Pin, GPIO_PIN_RESET);

  /*Configure GPIO pins : A0_Pin A1_Pin A2_Pin A3_Pin
                           A4_Pin A5_Pin SDNRAS_Pin A6_Pin
                           A7_Pin A8_Pin A9_Pin */
  GPIO_InitStruct.Pin = A0_Pin|A1_Pin|A2_Pin|A3_Pin
                          |A4_Pin|A5_Pin|SDNRAS_Pin|A6_Pin
                          |A7_Pin|A8_Pin|A9_Pin;
  GPIO_InitStruct.Mode = GPIO_MODE_AF_PP;
  GPIO_InitStruct.Pull = GPIO_NOPULL;
  GPIO_InitStruct.Speed = GPIO_SPEED_FREQ_VERY_HIGH;
  GPIO_InitStruct.Alternate = GPIO_AF12_FMC;
  HAL_GPIO_Init(GPIOF, &GPIO_InitStruct);

  /*Configure GPIO pins : SPI5_SCK_Pin SPI5_MISO_Pin SPI5_MOSI_Pin */
  GPIO_InitStruct.Pin = SPI5_SCK_Pin|SPI5_MISO_Pin|SPI5_MOSI_Pin;
  GPIO_InitStruct.Mode = GPIO_MODE_AF_PP;
  GPIO_InitStruct.Pull = GPIO_NOPULL;
  GPIO_InitStruct.Speed = GPIO_SPEED_FREQ_LOW;
  GPIO_InitStruct.Alternate = GPIO_AF5_SPI5;
  HAL_GPIO_Init(GPIOF, &GPIO_InitStruct);

  /*Configure GPIO pin : ENABLE_Pin */
  GPIO_InitStruct.Pin = ENABLE_Pin;
  GPIO_InitStruct.Mode = GPIO_MODE_AF_PP;
  GPIO_InitStruct.Pull = GPIO_NOPULL;
  GPIO_InitStruct.Speed = GPIO_SPEED_FREQ_LOW;
  GPIO_InitStruct.Alternate = GPIO_AF14_LTDC;
  HAL_GPIO_Init(ENABLE_GPIO_Port, &GPIO_InitStruct);

  /*Configure GPIO pin : SDNWE_Pin */
  GPIO_InitStruct.Pin = SDNWE_Pin;
  GPIO_InitStruct.Mode = GPIO_MODE_AF_PP;
  GPIO_InitStruct.Pull = GPIO_NOPULL;
  GPIO_InitStruct.Speed = GPIO_SPEED_FREQ_VERY_HIGH;
  GPIO_InitStruct.Alternate = GPIO_AF12_FMC;
  HAL_GPIO_Init(SDNWE_GPIO_Port, &GPIO_InitStruct);

  /*Configure GPIO pins : NCS_MEMS_SPI_Pin CSX_Pin OTG_FS_PSO_Pin */
  GPIO_InitStruct.Pin = NCS_MEMS_SPI_Pin|CSX_Pin|OTG_FS_PSO_Pin;
  GPIO_InitStruct.Mode = GPIO_MODE_OUTPUT_PP;
  GPIO_InitStruct.Pull = GPIO_NOPULL;
  GPIO_InitStruct.Speed = GPIO_SPEED_FREQ_LOW;
  HAL_GPIO_Init(GPIOC, &GPIO_InitStruct);

  /*Configure GPIO pins : B1_Pin MEMS_INT1_Pin MEMS_INT2_Pin TP_INT1_Pin */
  GPIO_InitStruct.Pin = B1_Pin|MEMS_INT1_Pin|MEMS_INT2_Pin|TP_INT1_Pin;
  GPIO_InitStruct.Mode = GPIO_MODE_EVT_RISING;
  GPIO_InitStruct.Pull = GPIO_NOPULL;
  HAL_GPIO_Init(GPIOA, &GPIO_InitStruct);

  /*Configure GPIO pins : B5_Pin VSYNC_Pin G2_Pin R4_Pin
                           R5_Pin */
  GPIO_InitStruct.Pin = B5_Pin|VSYNC_Pin|G2_Pin|R4_Pin
                          |R5_Pin;
  GPIO_InitStruct.Mode = GPIO_MODE_AF_PP;
  GPIO_InitStruct.Pull = GPIO_NOPULL;
  GPIO_InitStruct.Speed = GPIO_SPEED_FREQ_LOW;
  GPIO_InitStruct.Alternate = GPIO_AF14_LTDC;
  HAL_GPIO_Init(GPIOA, &GPIO_InitStruct);

  /*Configure GPIO pin : ACP_RST_Pin */
  GPIO_InitStruct.Pin = ACP_RST_Pin;
  GPIO_InitStruct.Mode = GPIO_MODE_OUTPUT_PP;
  GPIO_InitStruct.Pull = GPIO_NOPULL;
  GPIO_InitStruct.Speed = GPIO_SPEED_FREQ_LOW;
  HAL_GPIO_Init(ACP_RST_GPIO_Port, &GPIO_InitStruct);

  /*Configure GPIO pin : OTG_FS_OC_Pin */
  GPIO_InitStruct.Pin = OTG_FS_OC_Pin;
  GPIO_InitStruct.Mode = GPIO_MODE_EVT_RISING;
  GPIO_InitStruct.Pull = GPIO_NOPULL;
  HAL_GPIO_Init(OTG_FS_OC_GPIO_Port, &GPIO_InitStruct);

  /*Configure GPIO pins : R3_Pin R6_Pin */
  GPIO_InitStruct.Pin = R3_Pin|R6_Pin;
  GPIO_InitStruct.Mode = GPIO_MODE_AF_PP;
  GPIO_InitStruct.Pull = GPIO_NOPULL;
  GPIO_InitStruct.Speed = GPIO_SPEED_FREQ_LOW;
  GPIO_InitStruct.Alternate = GPIO_AF9_LTDC;
  HAL_GPIO_Init(GPIOB, &GPIO_InitStruct);

  /*Configure GPIO pin : BOOT1_Pin */
  GPIO_InitStruct.Pin = BOOT1_Pin;
  GPIO_InitStruct.Mode = GPIO_MODE_INPUT;
  GPIO_InitStruct.Pull = GPIO_NOPULL;
  HAL_GPIO_Init(BOOT1_GPIO_Port, &GPIO_InitStruct);

  /*Configure GPIO pins : A10_Pin A11_Pin BA0_Pin BA1_Pin
                           SDCLK_Pin SDNCAS_Pin */
  GPIO_InitStruct.Pin = A10_Pin|A11_Pin|BA0_Pin|BA1_Pin
                          |SDCLK_Pin|SDNCAS_Pin;
  GPIO_InitStruct.Mode = GPIO_MODE_AF_PP;
  GPIO_InitStruct.Pull = GPIO_NOPULL;
  GPIO_InitStruct.Speed = GPIO_SPEED_FREQ_VERY_HIGH;
  GPIO_InitStruct.Alternate = GPIO_AF12_FMC;
  HAL_GPIO_Init(GPIOG, &GPIO_InitStruct);

  /*Configure GPIO pins : D4_Pin D5_Pin D6_Pin D7_Pin
                           D8_Pin D9_Pin D10_Pin D11_Pin
                           D12_Pin NBL0_Pin NBL1_Pin */
  GPIO_InitStruct.Pin = D4_Pin|D5_Pin|D6_Pin|D7_Pin
                          |D8_Pin|D9_Pin|D10_Pin|D11_Pin
                          |D12_Pin|NBL0_Pin|NBL1_Pin;
  GPIO_InitStruct.Mode = GPIO_MODE_AF_PP;
  GPIO_InitStruct.Pull = GPIO_NOPULL;
  GPIO_InitStruct.Speed = GPIO_SPEED_FREQ_VERY_HIGH;
  GPIO_InitStruct.Alternate = GPIO_AF12_FMC;
  HAL_GPIO_Init(GPIOE, &GPIO_InitStruct);

  /*Configure GPIO pins : G4_Pin G5_Pin B6_Pin B7_Pin */
  GPIO_InitStruct.Pin = G4_Pin|G5_Pin|B6_Pin|B7_Pin;
  GPIO_InitStruct.Mode = GPIO_MODE_AF_PP;
  GPIO_InitStruct.Pull = GPIO_NOPULL;
  GPIO_InitStruct.Speed = GPIO_SPEED_FREQ_LOW;
  GPIO_InitStruct.Alternate = GPIO_AF14_LTDC;
  HAL_GPIO_Init(GPIOB, &GPIO_InitStruct);

  /*Configure GPIO pins : OTG_HS_ID_Pin OTG_HS_DM_Pin OTG_HS_DP_Pin */
  GPIO_InitStruct.Pin = OTG_HS_ID_Pin|OTG_HS_DM_Pin|OTG_HS_DP_Pin;
  GPIO_InitStruct.Mode = GPIO_MODE_AF_PP;
  GPIO_InitStruct.Pull = GPIO_NOPULL;
  GPIO_InitStruct.Speed = GPIO_SPEED_FREQ_LOW;
  GPIO_InitStruct.Alternate = GPIO_AF12_OTG_HS_FS;
  HAL_GPIO_Init(GPIOB, &GPIO_InitStruct);

  /*Configure GPIO pin : VBUS_HS_Pin */
  GPIO_InitStruct.Pin = VBUS_HS_Pin;
  GPIO_InitStruct.Mode = GPIO_MODE_INPUT;
  GPIO_InitStruct.Pull = GPIO_NOPULL;
  HAL_GPIO_Init(VBUS_HS_GPIO_Port, &GPIO_InitStruct);

  /*Configure GPIO pins : D13_Pin D14_Pin D15_Pin D0_Pin
                           D1_Pin D2_Pin D3_Pin */
  GPIO_InitStruct.Pin = D13_Pin|D14_Pin|D15_Pin|D0_Pin
                          |D1_Pin|D2_Pin|D3_Pin;
  GPIO_InitStruct.Mode = GPIO_MODE_AF_PP;
  GPIO_InitStruct.Pull = GPIO_NOPULL;
  GPIO_InitStruct.Speed = GPIO_SPEED_FREQ_VERY_HIGH;
  GPIO_InitStruct.Alternate = GPIO_AF12_FMC;
  HAL_GPIO_Init(GPIOD, &GPIO_InitStruct);

  /*Configure GPIO pin : TE_Pin */
  GPIO_InitStruct.Pin = TE_Pin;
  GPIO_InitStruct.Mode = GPIO_MODE_INPUT;
  GPIO_InitStruct.Pull = GPIO_NOPULL;
  HAL_GPIO_Init(TE_GPIO_Port, &GPIO_InitStruct);

  /*Configure GPIO pins : RDX_Pin WRX_DCX_Pin */
  GPIO_InitStruct.Pin = RDX_Pin|WRX_DCX_Pin;
  GPIO_InitStruct.Mode = GPIO_MODE_OUTPUT_PP;
  GPIO_InitStruct.Pull = GPIO_NOPULL;
  GPIO_InitStruct.Speed = GPIO_SPEED_FREQ_LOW;
  HAL_GPIO_Init(GPIOD, &GPIO_InitStruct);

  /*Configure GPIO pins : R7_Pin DOTCLK_Pin B3_Pin */
  GPIO_InitStruct.Pin = R7_Pin|DOTCLK_Pin|B3_Pin;
  GPIO_InitStruct.Mode = GPIO_MODE_AF_PP;
  GPIO_InitStruct.Pull = GPIO_NOPULL;
  GPIO_InitStruct.Speed = GPIO_SPEED_FREQ_LOW;
  GPIO_InitStruct.Alternate = GPIO_AF14_LTDC;
  HAL_GPIO_Init(GPIOG, &GPIO_InitStruct);

  /*Configure GPIO pins : HSYNC_Pin G6_Pin R2_Pin */
  GPIO_InitStruct.Pin = HSYNC_Pin|G6_Pin|R2_Pin;
  GPIO_InitStruct.Mode = GPIO_MODE_AF_PP;
  GPIO_InitStruct.Pull = GPIO_NOPULL;
  GPIO_InitStruct.Speed = GPIO_SPEED_FREQ_LOW;
  GPIO_InitStruct.Alternate = GPIO_AF14_LTDC;
  HAL_GPIO_Init(GPIOC, &GPIO_InitStruct);

  /*Configure GPIO pin : I2C3_SDA_Pin */
  GPIO_InitStruct.Pin = I2C3_SDA_Pin;
  GPIO_InitStruct.Mode = GPIO_MODE_AF_OD;
  GPIO_InitStruct.Pull = GPIO_NOPULL;
  GPIO_InitStruct.Speed = GPIO_SPEED_FREQ_LOW;
  GPIO_InitStruct.Alternate = GPIO_AF4_I2C3;
  HAL_GPIO_Init(I2C3_SDA_GPIO_Port, &GPIO_InitStruct);

  /*Configure GPIO pin : I2C3_SCL_Pin */
  GPIO_InitStruct.Pin = I2C3_SCL_Pin;
  GPIO_InitStruct.Mode = GPIO_MODE_AF_OD;
  GPIO_InitStruct.Pull = GPIO_NOPULL;
  GPIO_InitStruct.Speed = GPIO_SPEED_FREQ_LOW;
  GPIO_InitStruct.Alternate = GPIO_AF4_I2C3;
  HAL_GPIO_Init(I2C3_SCL_GPIO_Port, &GPIO_InitStruct);

  /*Configure GPIO pins : STLINK_RX_Pin STLINK_TX_Pin */
  GPIO_InitStruct.Pin = STLINK_RX_Pin|STLINK_TX_Pin;
  GPIO_InitStruct.Mode = GPIO_MODE_AF_PP;
  GPIO_InitStruct.Pull = GPIO_NOPULL;
  GPIO_InitStruct.Speed = GPIO_SPEED_FREQ_VERY_HIGH;
  GPIO_InitStruct.Alternate = GPIO_AF7_USART1;
  HAL_GPIO_Init(GPIOA, &GPIO_InitStruct);

  /*Configure GPIO pins : G7_Pin B2_Pin */
  GPIO_InitStruct.Pin = G7_Pin|B2_Pin;
  GPIO_InitStruct.Mode = GPIO_MODE_AF_PP;
  GPIO_InitStruct.Pull = GPIO_NOPULL;
  GPIO_InitStruct.Speed = GPIO_SPEED_FREQ_LOW;
  GPIO_InitStruct.Alternate = GPIO_AF14_LTDC;
  HAL_GPIO_Init(GPIOD, &GPIO_InitStruct);

  /*Configure GPIO pins : G3_Pin B4_Pin */
  GPIO_InitStruct.Pin = G3_Pin|B4_Pin;
  GPIO_InitStruct.Mode = GPIO_MODE_AF_PP;
  GPIO_InitStruct.Pull = GPIO_NOPULL;
  GPIO_InitStruct.Speed = GPIO_SPEED_FREQ_LOW;
  GPIO_InitStruct.Alternate = GPIO_AF9_LTDC;
  HAL_GPIO_Init(GPIOG, &GPIO_InitStruct);

  /*Configure GPIO pins : LD3_Pin LD4_Pin */
  GPIO_InitStruct.Pin = LD3_Pin|LD4_Pin;
  GPIO_InitStruct.Mode = GPIO_MODE_OUTPUT_PP;
  GPIO_InitStruct.Pull = GPIO_NOPULL;
  GPIO_InitStruct.Speed = GPIO_SPEED_FREQ_LOW;
  HAL_GPIO_Init(GPIOG, &GPIO_InitStruct);

  /*Configure GPIO pins : SDCKE1_Pin SDNE1_Pin */
  GPIO_InitStruct.Pin = SDCKE1_Pin|SDNE1_Pin;
  GPIO_InitStruct.Mode = GPIO_MODE_AF_PP;
  GPIO_InitStruct.Pull = GPIO_NOPULL;
  GPIO_InitStruct.Speed = GPIO_SPEED_FREQ_VERY_HIGH;
  GPIO_InitStruct.Alternate = GPIO_AF12_FMC;
  HAL_GPIO_Init(GPIOB, &GPIO_InitStruct);

}

/* USER CODE BEGIN 4 */
FILE __stdout;
FILE __stdin;

int fputc(int c, FILE * stream)
{
	HAL_UART_Transmit(&xHUart1, (uint8_t *) &c, 1, 30000);
	return c; //return the character written to denote a successfull write
}

int fgetc(FILE * stream)
{
	char c;
	HAL_UART_Receive(&xHUart1, (uint8_t *) &c, 1, 30000);
	return c; //return the character
}

// List all Directories and Files in Path
// Parameters:  pcPath (path to scan from), iNbrTabs (number of tabs to add in the print before dir or file name, to be easy to recognize the dir tree)
// return the result of the last used file function
// Note: in ffconf.h change the define _FS_LOCK to any max number of openned files that works for you,
FRESULT iListDirAndFile(char *pcPath, int iNbrTabs)
{
	DIR xDir;
	FILINFO xFInfo;
	FRESULT xFRes;
	char pcNextPath[100];
	//char pcFullPath[100];
	xFRes = f_opendir(&xDir, pcPath);
	if(xFRes == FR_OK)
	{
		//printf("f_opendir %s succ\r\n", pcPath);
		// keep reading directories if SD card until no directory found
		while(1)
		{
			xFRes = f_readdir(&xDir, &xFInfo);
			if(xFRes == FR_OK)
			{
				//if end of directory exit loop
				if(xFInfo.fname[0]==0)
				{
					//printf("end of directory\r\n");
					f_closedir(&xDir);
					break;
				}
				// check if directory
				if(xFInfo.fattrib & AM_DIR)
				{
					sprintf(&pcNextPath[0], "%s\\%s", pcPath,xFInfo.fname);
					for(int i=0; i<iNbrTabs; i++)
						printf("	");
					printf("%s\r\n", xFInfo.fname);
					// List file and dir inside this dir (reccursivity)
					xFRes = iListDirAndFile(&pcNextPath[0], iNbrTabs+1);
					// if xFRes is not ok that mean not more file or directories in this directory
					if(xFRes != FR_OK)
					{
						printf("iListDirAndFile not ok (%d)\r\n", xFRes);
						f_closedir(&xDir);
						break;
					}
				}
				// if not directory then it's file
				else
				{
					for(int i=0; i<iNbrTabs; i++)
						printf("	");
					printf("%s\r\n", xFInfo.fname);
				}
			}
			else
			{
				f_closedir(&xDir);
				printf("f_readdir error (%d)\r\n", xFRes);
				break;
			}
		}
	}
	else
	{
		printf("f_opendir error (%d)\r\n", xFRes);
		while(1);
	}

	return xFRes;
}

void EXTI15_10_IRQHandler(void)
{
  /* USER CODE BEGIN EXTI0_IRQn 0 */

  /* USER CODE END EXTI0_IRQn 0 */
  HAL_GPIO_EXTI_IRQHandler(GPIO_PIN_12);
  /* USER CODE BEGIN EXTI0_IRQn 1 */

  /* USER CODE END EXTI0_IRQn 1 */
}

void HAL_GPIO_EXTI_Callback(uint16_t GPIO_Pin)
{
	if(GPIO_Pin == GPIO_PIN_12)
	{
		bRtcAlarmFlag = true;
		HAL_GPIO_TogglePin(GPIOG, GPIO_PIN_14);
		iRtcClearAlarm1InteeruptionFlag();
	}
}

/* USER CODE END 4 */

void Error_Handler(void)
{
  __disable_irq();
  while (1)
  {
  }
}
